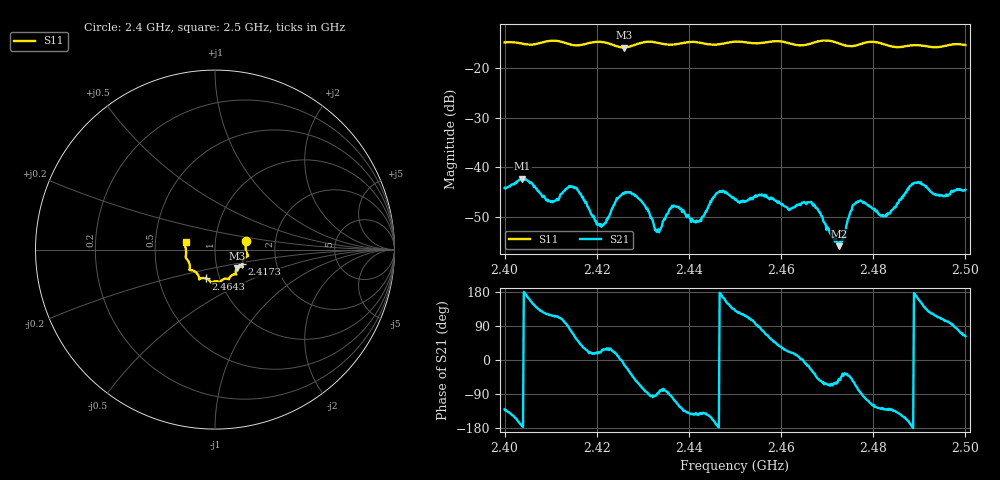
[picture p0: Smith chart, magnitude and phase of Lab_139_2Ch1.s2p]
# Hz S RI R 50
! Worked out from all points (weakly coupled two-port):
!   601 points, 2.4 GHz to 2.5 GHz, reference 50 ohm
!   highest |S21| = -42.27 dB at 2.4038 GHz (marker M1); lowest = -55.8 dB at 2.4727 GHz (marker M2)
!   lowest |S11| = -15.9 dB at 2.4258 GHz (marker M3), VSWR 1.38, Z = 62.3 - j13.3 ohm
!   |S11| at or under -10 dB: start of sweep to end of sweep
!   S12 and S22 are empty: the file has one direction only
!   S11 on the Smith chart (normalised r, x): 2.4 GHz: 1.41, +0.14; 2.4173 GHz: 1.34, -0.23; 2.4643 GHz: 0.86, -0.28; 2.5 GHz: 0.72, +0.06
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2.4e9  0.1732 0.0488  -0.004 -0.00477  0 0  0 0
2.403833e9  0.173 0.0272  -0.00766 -0.000786  0 0  0 0
2.41e9  0.1839 -0.0334  -0.00214 0.00398  0 0  0 0
2.414167e9  0.1652 -0.0485  0.00102 0.00631  0 0  0 0
2.416667e9  0.1526 -0.0745  0.00409 0.00325  0 0  0 0
2.417333e9  0.1519 -0.082  0.00401 0.00241  0 0  0 0
2.421167e9  0.1538 -0.0967  0.00233 0.00116  0 0  0 0
2.425833e9  0.1218 -0.1037  0.00532 -0.000933  0 0  0 0
2.429667e9  0.1167 -0.1353  0.0016 -0.00434  0 0  0 0
2.433333e9  0.1129 -0.1376  8.58e-05 -0.0024  0 0  0 0
2.4365e9  0.0903 -0.1456  -0.000721 -0.00393  0 0  0 0
2.441833e9  0.075 -0.1645  -0.00238 -0.00168  0 0  0 0
2.446333e9  0.0449 -0.166  -0.0056 -0.000498  0 0  0 0
2.45e9  0.0286 -0.1809  -0.00308 0.0036  0 0  0 0
2.464333e9  -0.0499 -0.1606  0.00426 0.000218  0 0  0 0
2.466667e9  -0.076 -0.1592  0.00393 -0.00209  0 0  0 0
2.472667e9  -0.0902 -0.1502  0.00104 -0.00125  0 0  0 0
2.476667e9  -0.1231 -0.1167  0.001 -0.00447  0 0  0 0
2.483333e9  -0.1404 -0.09  -0.00215 -0.0027  0 0  0 0
2.489e9  -0.1627 -0.0456  -0.007 0.000658  0 0  0 0
2.494833e9  -0.1632 0.00818  -0.00174 0.00493  0 0  0 0
2.5e9  -0.1638 0.0426  0.00274 0.00532  0 0  0 0
